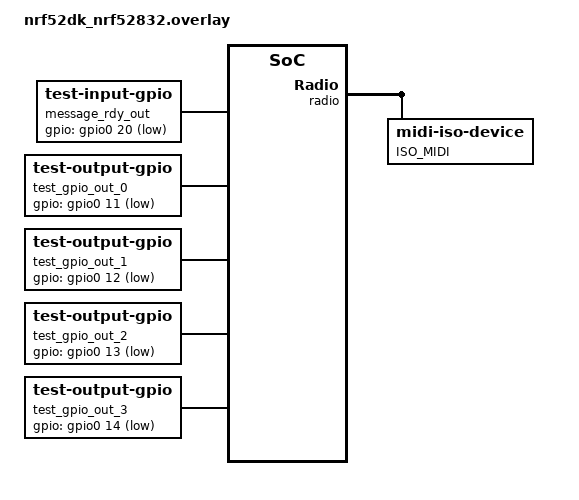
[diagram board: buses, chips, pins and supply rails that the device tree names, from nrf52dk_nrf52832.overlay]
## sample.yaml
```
sample:
  name: BLE MIDI Service
  description: Bluetooth Low Energy MIDI service sample 
tests:
  samples.bluetooth.peripheral_midi:
    build_only: true
    build_on_all: true
    platform_allow: nrf51dk_nrf51422 nrf52dk_nrf52832 nrf52840dk_nrf52840
    tags: bluetooth ci_build
```

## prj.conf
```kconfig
# Enable the UART driver
CONFIG_UART_ASYNC_API=y
CONFIG_NRFX_UARTE0=y
CONFIG_SERIAL=y

CONFIG_GPIO=y

# Make sure printk is not printing to the UART console
CONFIG_CONSOLE=y
CONFIG_UART_CONSOLE=y


CONFIG_HEAP_MEM_POOL_SIZE=2048


CONFIG_BT=y
CONFIG_BT_ISO_SYNC_RECEIVER=y
CONFIG_LOG=y
CONFIG_BT_DEVICE_NAME="Test ISO Receive"

CONFIG_BT_ISO_MAX_CHAN=2

CONFIG_BT_CTLR_SYNC_ISO=y
CONFIG_BT_CTLR_SYNC_ISO_PDU_LEN_MAX=251
CONFIG_BT_CTLR_SYNC_ISO_STREAM_MAX=2
CONFIG_BT_CTLR_ISOAL_SINKS=2
CONFIG_BT_LL_SW_SPLIT=y

# This example requires more workqueue stack
CONFIG_SYSTEM_WORKQUEUE_STACK_SIZE=4096

# Config logger
CONFIG_LOG=y
CONFIG_USE_SEGGER_RTT=y
CONFIG_LOG_BACKEND_RTT=y
CONFIG_LOG_BACKEND_UART=n

# Enable DK LED and Buttons library
CONFIG_DK_LIBRARY=y

CONFIG_MIDI=y
CONFIG_MIDI_ISO_RECEIVER=y
CONFIG_MIDI_PARSER=y
CONFIG_TEST_GPIO_OUT=y
```

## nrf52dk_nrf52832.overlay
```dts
&radio{
	midi_iso_device {
		compatible = "midi-iso-device";
		label = "ISO_MIDI";
		midi_iso_broadcast_device {
			label = "ISO_MIDI_RECEIVER";
			compatible = "midi-iso-receiver-device";
		};
    };
};

/ {
	message_rdy_out: message_rdy_out {
		compatible = "test-input-gpio";
                /* using built-in LED pin for demonstration */
		gpios = <&gpio0 20  (GPIO_PULL_UP | GPIO_ACTIVE_LOW)>;
	};
};

/ {
	test_gpio_out_0: test_gpio_out_0 {
		compatible = "test-output-gpio";
                /* using built-in LED pin for demonstration */
		gpios = <&gpio0 11  (GPIO_PULL_UP | GPIO_ACTIVE_LOW)>;
	};
};

/ {
	test_gpio_out_1: test_gpio_out_1 {
		compatible = "test-output-gpio";
                /* using built-in LED pin for demonstration */
		gpios = <&gpio0 12  (GPIO_PULL_UP | GPIO_ACTIVE_LOW)>;
	};
};

/ {
	test_gpio_out_2: test_gpio_out_2 {
		compatible = "test-output-gpio";
                /* using built-in LED pin for demonstration */
		gpios = <&gpio0 13  (GPIO_PULL_UP | GPIO_ACTIVE_LOW)>;
	};
};

/ {
	test_gpio_out_3: test_gpio_out_3 {
		compatible = "test-output-gpio";
                /* using built-in LED pin for demonstration */
		gpios = <&gpio0 14  (GPIO_PULL_UP | GPIO_ACTIVE_LOW)>;
	};
};
```

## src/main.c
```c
#include <zephyr/types.h>
#include <zephyr/device.h>
#include <soc.h>

#include <dk_buttons_and_leds.h>
#include <zephyr/drivers/gpio.h>
#include <midi/midi.h>
#include <midi/midi_iso.h>
#include "test_gpio_out.h"

#include <zephyr/logging/log.h>

#define LOG_MODULE_NAME midi
LOG_MODULE_REGISTER(LOG_MODULE_NAME);

static K_FIFO_DEFINE(timestamp_queue);

const struct device *iso_midi_in_dev;

#if !DT_NODE_EXISTS(DT_NODELABEL(message_rdy_out))
#error "Overlay for message_rdy_out node not properly defined."
#endif

static const struct gpio_dt_spec message_rdy_out =
	GPIO_DT_SPEC_GET_OR(DT_NODELABEL(message_rdy_out), gpios, {0});



int midi_iso_synced_cb(struct bt_conn *conn, uint8_t conn_err) 
{
	LOG_INF("MIDI ISO connected!");

	return 0;
}

static int midi_iso_received(const struct device *dev,
			  midi_msg_t *msg,
			  void *user_data)
{
	// LOG_INF("MIDI ISO received!");
	// midi_msg_unref(msg);
	k_fifo_put(&timestamp_queue, msg);

	return 0;
}

const struct device * get_port(const char* name, 
			midi_transfer cb, void *user_data)
{
	int err;
	const struct device * dev;
	dev = device_get_binding(name);
	if (!dev) {
		LOG_ERR("Can not get device: %s", name);
	}
	err = midi_callback_set(dev, cb, user_data);
	if (err != 0) {
		LOG_ERR("Can not set callbacks for device: %s", name);
	}
	return dev;
}

void main(void)
{
	int err;
	midi_msg_t * msg;
	LOG_INF("Running");
	
	test_gpio_out_init();

	if (!gpio_is_ready_dt(&message_rdy_out)) {
		LOG_INF("The message_rdy_out pin GPIO port is not ready.\n");
		return;
	}

	err = gpio_pin_configure_dt(&message_rdy_out, GPIO_OUTPUT_INACTIVE);
	if (err != 0) {
		LOG_INF("Configuring GPIO pin failed: %d\n", err);
		return;
	}

	/*ISO PORTS*/
	iso_midi_in_dev = get_port("ISO_MIDI_RECEIVER", 
			midi_iso_received, NULL);

	LOG_INF("ports gotten");

	err = dk_leds_init();
	if (err) {
		LOG_ERR("Cannot init LEDs (err: %d)", err);
	}
	midi_iso_scan(iso_midi_in_dev);

	for (;;) {
		msg = k_fifo_get(&timestamp_queue, K_FOREVER);
		// if (msg->timestamp < 10)
		// {
		// 	msg->timestamp = 10;
		// }
		// LOG_INF("timestamp !!!!!!!!!!!!%d", msg->timestamp);
		k_sleep(K_USEC(msg->timestamp));
		err = gpio_pin_toggle(message_rdy_out.port, message_rdy_out.pin);
		if(err) {
			LOG_INF("failed to toggle send message out pin");
		}
		midi_msg_unref(msg);
	}
}
```
